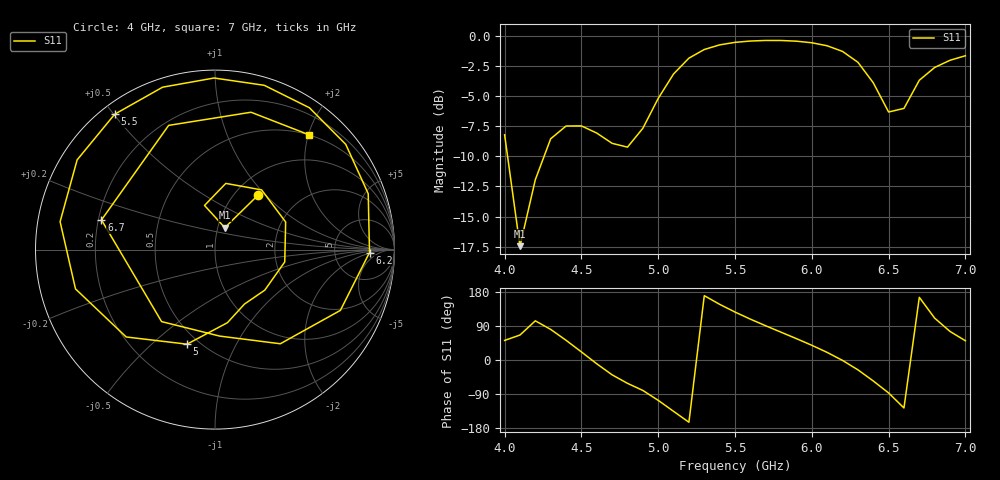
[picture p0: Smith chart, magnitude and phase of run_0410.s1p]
! Touchstone file exported from HFSS 2024.2.0
!  File:  C:/Users/wsak9/Desktop/Sim Fast/Widenad Patch/WP_AI_V1_sweep.aedt
!  Generated:  08:41:48 AM Oct 14, 2026
!  Design:  A1_model
!  Project:  WP_AI_V1_sweep
!  Setup:  Setup1
!  Solution:  Sweep
! Variables:
!  Air_gap = 3.92mm
!  Curve_Amp1 = 3.03
!  Curve_len1 = 1
!  Curve_pos = 13.385mm
!  Extra = 4.71mm
!  H_sub = 0.79mm
!  L_Patch = 22.77mm
!  L_Patch1 = 16.18mm
!  Sx = 2.52mm
!  Sy = 0.28mm
!  WS = 1.37mm
!  W_Patch = 19.47mm
!  W_Patch1 = 11.47mm
!Data is not renormalized
# GHz S MA
! Terminal data exported
! Port[1] = 1
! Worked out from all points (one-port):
!   31 points, 4 GHz to 7 GHz, reference per port
!   lowest |S11| = -17.5 dB at 4.1 GHz (marker M1), VSWR 1.31
!   |S11| at or under -10 dB: 4.019 GHz to 4.257 GHz (238 MHz wide, 5.75 % of centre)
!   S11 on the Smith chart (normalised r, x): 4 GHz: 1.27, +0.91; 5 GHz: 0.43, -0.65; 5.5 GHz: 0.04, +0.50; 6.2 GHz: 13, -2; 6.7 GHz: 0.21, +0.12; 7 GHz: 0.50, +2.01
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4  0.3883 51.6
4.1  0.1339 65.9
4.2  0.2528 103.4
4.3  0.3737 80.7
4.4  0.4221 52.0
4.5  0.4226 21.3
4.6  0.3946 -10.0
4.8  0.345 -61.6
4.9  0.413 -80.3
5  0.5495 -106.5
5.1  0.6941 -135.5
5.2  0.8074 -164.3
5.3  0.8769 169.8
5.4  0.9165 146.9
5.5  0.9387 126.5
5.6  0.9508 107.9
5.7  0.956 90.3
5.9  0.9494 56.3
6.1  0.9087 20.0
6.2  0.861 -1.1
6.3  0.7763 -25.9
6.4  0.6384 -55.3
6.5  0.4826 -86.9
6.6  0.4995 -126.6
6.7  0.6537 165.3
6.8  0.7387 110.5
6.9  0.7912 75.3
7  0.8261 50.8
